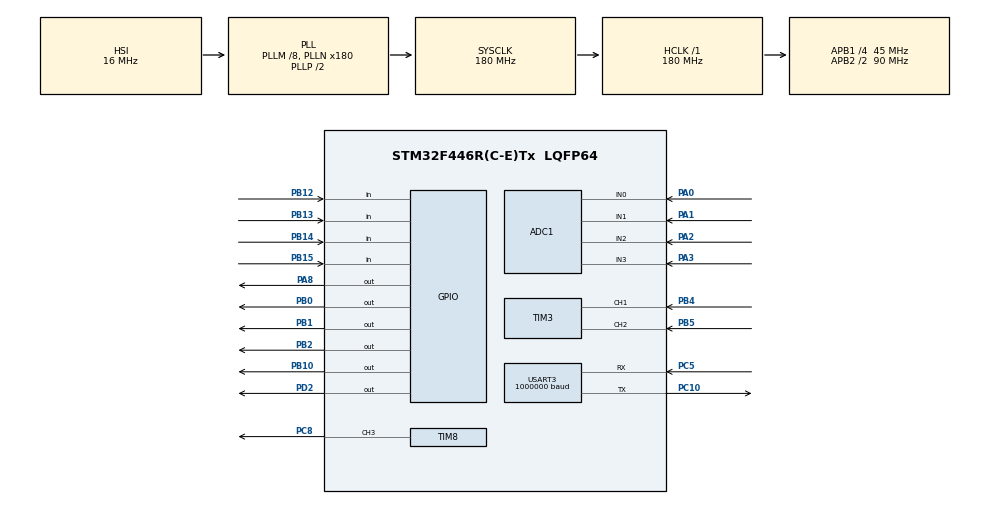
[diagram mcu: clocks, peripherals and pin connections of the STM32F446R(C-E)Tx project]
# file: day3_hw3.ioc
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ADC1.Channel-0\#ChannelRegularConversion=ADC_CHANNEL_0
ADC1.Channel-1\#ChannelRegularConversion=ADC_CHANNEL_1
ADC1.Channel-2\#ChannelRegularConversion=ADC_CHANNEL_2
ADC1.Channel-3\#ChannelRegularConversion=ADC_CHANNEL_3
ADC1.DMAContinuousRequests=ENABLE
ADC1.ExternalTrigConv=ADC_EXTERNALTRIGCONV_T8_TRGO
ADC1.NbrOfConversion=4
ADC1.NbrOfConversionFlag=1
ADC1.Rank-0\#ChannelRegularConversion=1
ADC1.Rank-1\#ChannelRegularConversion=2
ADC1.Rank-2\#ChannelRegularConversion=3
ADC1.Rank-3\#ChannelRegularConversion=4
ADC1.SamplingTime-0\#ChannelRegularConversion=ADC_SAMPLETIME_15CYCLES
ADC1.SamplingTime-1\#ChannelRegularConversion=ADC_SAMPLETIME_15CYCLES
ADC1.SamplingTime-2\#ChannelRegularConversion=ADC_SAMPLETIME_15CYCLES
ADC1.SamplingTime-3\#ChannelRegularConversion=ADC_SAMPLETIME_15CYCLES
ADC1.ScanConvMode=ENABLE
ADC1.master=1
CAN1.BS1=CAN_BS1_6TQ
CAN1.BS2=CAN_BS2_2TQ
CAN1.CalculateTimeQuantum=111.111111111111
CAN1.Prescaler=5
Dma.ADC1.0.Direction=DMA_PERIPH_TO_MEMORY
Dma.ADC1.0.FIFOMode=DMA_FIFOMODE_DISABLE
Dma.ADC1.0.Instance=DMA2_Stream0
Dma.ADC1.0.MemDataAlignment=DMA_MDATAALIGN_WORD
Dma.ADC1.0.MemInc=DMA_MINC_ENABLE
Dma.ADC1.0.Mode=DMA_CIRCULAR
Dma.ADC1.0.PeriphDataAlignment=DMA_PDATAALIGN_WORD
Dma.ADC1.0.PeriphInc=DMA_PINC_DISABLE
Dma.ADC1.0.Priority=DMA_PRIORITY_LOW
Dma.Request0=ADC1
Dma.Request1=USART3_RX
Dma.USART3_RX.1.Direction=DMA_PERIPH_TO_MEMORY
Dma.USART3_RX.1.FIFOMode=DMA_FIFOMODE_DISABLE
Dma.USART3_RX.1.Instance=DMA1_Stream1
Dma.USART3_RX.1.MemDataAlignment=DMA_MDATAALIGN_BYTE
Dma.USART3_RX.1.MemInc=DMA_MINC_ENABLE
Dma.USART3_RX.1.Mode=DMA_CIRCULAR
Dma.USART3_RX.1.PeriphDataAlignment=DMA_PDATAALIGN_BYTE
Dma.USART3_RX.1.PeriphInc=DMA_PINC_DISABLE
Dma.USART3_RX.1.Priority=DMA_PRIORITY_LOW
Mcu.Family=STM32F4
Mcu.Name=STM32F446R(C-E)Tx
Mcu.Package=LQFP64
NVIC.ADC_IRQn=true\:0\:0\:false\:false\:true\:true\:true\:true
NVIC.DMA1_Stream1_IRQn=true\:0\:0\:false\:false\:true\:false\:true\:true
NVIC.DMA2_Stream0_IRQn=true\:0\:0\:false\:false\:true\:false\:true\:true
NVIC.PriorityGroup=NVIC_PRIORITYGROUP_4
NVIC.TIM6_DAC_IRQn=true\:0\:0\:false\:false\:true\:true\:true\:true
NVIC.TIM8_BRK_TIM12_IRQn=true\:0\:0\:false\:false\:true\:true\:true\:true
NVIC.TIM8_CC_IRQn=true\:0\:0\:false\:false\:true\:true\:true\:true
NVIC.TIM8_TRG_COM_TIM14_IRQn=true\:0\:0\:false\:false\:true\:true\:true\:true
NVIC.TIM8_UP_TIM13_IRQn=true\:0\:0\:false\:false\:true\:true\:true\:true
NVIC.USART3_IRQn=true\:0\:0\:false\:false\:true\:true\:true\:true
PA0-WKUP.Signal=ADCx_IN0
PA1.Signal=ADCx_IN1
PA11.Signal=CAN1_RX
PA12.Signal=CAN1_TX
PA13.Mode=Serial_Wire
PA13.Signal=SYS_JTMS-SWDIO
PA14.Mode=Serial_Wire
PA14.Signal=SYS_JTCK-SWCLK
PA2.Signal=ADCx_IN2
PA3.Signal=ADCx_IN3
PA8.Signal=GPIO_Output
PB0.Signal=GPIO_Output
PB1.Signal=GPIO_Output
PB10.Signal=GPIO_Output
PB12.Signal=GPIO_Input
PB13.Signal=GPIO_Input
PB14.Signal=GPIO_Input
PB15.Signal=GPIO_Input
PB2.Signal=GPIO_Output
PB4.GPIO_PuPd=GPIO_PULLUP
PB4.Signal=S_TIM3_CH1
PB5.GPIO_PuPd=GPIO_PULLUP
PB5.Signal=S_TIM3_CH2
PC10.Mode=Asynchronous
PC10.Signal=USART3_TX
PC5.Mode=Asynchronous
PC5.Signal=USART3_RX
PC8.Signal=S_TIM8_CH3
PD2.Signal=GPIO_Output
PH0-OSC_IN.Mode=HSE-External-Oscillator
PH0-OSC_IN.Signal=RCC_OSC_IN
PH1-OSC_OUT.Mode=HSE-External-Oscillator
PH1-OSC_OUT.Signal=RCC_OSC_OUT
ProjectManager.HeapSize=0x200
ProjectManager.StackSize=0x400
ProjectManager.TargetToolchain=STM32CubeIDE
RCC.AHBFreq_Value=180000000
RCC.APB1CLKDivider=RCC_HCLK_DIV4
RCC.APB1Freq_Value=45000000
RCC.APB1TimFreq_Value=90000000
RCC.APB2CLKDivider=RCC_HCLK_DIV2
RCC.APB2Freq_Value=90000000
RCC.APB2TimFreq_Value=180000000
RCC.CortexFreq_Value=180000000
RCC.HCLKFreq_Value=180000000
RCC.HSE_VALUE=16000000
RCC.PLLM=8
RCC.PLLN=180
RCC.SYSCLKFreq_VALUE=180000000
RCC.SYSCLKSource=RCC_SYSCLKSOURCE_PLLCLK
RCC.USBFreq_Value=180000000
RCC.VCOOutputFreq_Value=360000000
SH.ADCx_IN0.0=ADC1_IN0,IN0
SH.ADCx_IN1.0=ADC1_IN1,IN1
SH.ADCx_IN2.0=ADC1_IN2,IN2
SH.ADCx_IN3.0=ADC1_IN3,IN3
SH.S_TIM3_CH1.0=TIM3_CH1,Encoder_Interface
SH.S_TIM3_CH2.0=TIM3_CH2,Encoder_Interface
SH.S_TIM8_CH3.0=TIM8_CH3,PWM Generation3 CH3
TIM3.EncoderMode=TIM_ENCODERMODE_TI12
TIM3.IC1Filter=5
TIM3.IC2Filter=5
TIM6.Period=100-1
TIM6.Prescaler=90-1
TIM8.Channel-PWM\ Generation3\ CH3=TIM_CHANNEL_3
TIM8.Period=1000-1
TIM8.Prescaler=18-1
TIM8.TIM_MasterOutputTrigger=TIM_TRGO_UPDATE
USART3.BaudRate=1000000
USART3.VirtualMode=VM_ASYNC
VP_TIM6_VS_ClockSourceINT.Mode=Enable_Timer
VP_TIM8_VS_ClockSourceINT.Mode=Internal
board=custom

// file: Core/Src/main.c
/* USER CODE BEGIN Header */
/**
  ******************************************************************************
  * @file           : main.c
  * @brief          : Main program body
  ******************************************************************************
  * @attention
  *
  * Copyright (c) 2026 STMicroelectronics.
  * All rights reserved.
  *
  * This software is licensed under terms that can be found in the LICENSE file
  * in the root directory of this software component.
  * If no LICENSE file comes with this software, it is provided AS-IS.
  *
  ******************************************************************************
  */
/* USER CODE END Header */
#include "main.h"
#include "adc.h"
#include "can.h"
#include "dma.h"
#include "tim.h"
#include "usart.h"
#include "gpio.h"

/* USER CODE BEGIN Includes */
#include <string.h>
/* USER CODE END Includes */

/* USER CODE BEGIN PD */
#define RS_HOST_ID 0xFD  // 호스트(STM32) ID
#define RS_MOTOR_ID_DEFAULT 14  // RS00 설정 ID

#define RS_TYPE_STOP 4  // 통신 타입: 정지
#define RS_TYPE_ENABLE 3  // 통신 타입: 활성화
#define RS_TYPE_WRITE 18  // 통신 타입: 파라미터 쓰기
#define RS_TYPE_ID_REQUEST 0  // 통신 타입: ID 요청

#define RS_IDX_RUN_MODE 0x7005  // 운전 모드 (2 = 속도 모드)
#define RS_IDX_SPD_REF 0x700A  // 목표 속도 (rad/s)
#define RS_IDX_LIMIT_CUR 0x7018  // 전류 제한 (A)
#define RS_IDX_ACC_RAD 0x7022  // 가속도 (rad/s^2)

#define RS_SPEED_RAD_S 5.0f  // 데이터시트 최대값의 절반 미만
#define RS_LIMIT_CUR_A 4.0f  // 데이터시트 최대값의 절반 미만
#define RS_ACC_RAD_S2 20.0f
#define RS_PHASE_MS 5000  // 방향 전환 주기 (ms)
/* USER CODE END PD */

/* USER CODE BEGIN PV */
static uint8_t motor_id = RS_MOTOR_ID_DEFAULT;
/* USER CODE END PV */

void SystemClock_Config(void);
/* USER CODE BEGIN PFP */
static void RS_Send(uint8_t comm_type, const uint8_t data[8]);
static void RS_Scan(void);
static void RS_WriteU8(uint16_t index, uint8_t value);
static void RS_WriteFloat(uint16_t index, float value);
/* USER CODE END PFP */

/* USER CODE BEGIN 0 */
static void RS_Send(uint8_t comm_type, const uint8_t data[8])
{
  CAN_TxHeaderTypeDef header;
  uint32_t mailbox;
  uint32_t start;

  header.ExtId = ((uint32_t)comm_type << 24) | ((uint32_t)RS_HOST_ID << 8) | motor_id;  // 29bit ID = 타입 | 호스트 ID | 모터 ID
  header.IDE = CAN_ID_EXT;
  header.RTR = CAN_RTR_DATA;
  header.DLC = 8;
  header.TransmitGlobalTime = DISABLE;

  start = HAL_GetTick();
  while (HAL_CAN_GetTxMailboxesFreeLevel(&hcan1) == 0)  // 빈 메일박스 대기 (10ms 제한)
  {
    if (HAL_GetTick() - start > 10)
    {
      return;
    }
  }
  HAL_CAN_AddTxMessage(&hcan1, &header, (uint8_t *)data, &mailbox);
}

static void RS_Scan(void)
{
  uint8_t zero[8] = {0};
  CAN_RxHeaderTypeDef rx_header;
  uint8_t rx_data[8];
  uint16_t n;

  for (n = 0; n < 127; n++)
  {
    motor_id = (n == 0) ? RS_MOTOR_ID_DEFAULT : n;
    RS_Send(RS_TYPE_ID_REQUEST, zero);  // ID 요청 후 응답 확인
    HAL_Delay(3);
    while (HAL_CAN_GetRxFifoFillLevel(&hcan1, CAN_RX_FIFO0) > 0)
    {
      HAL_CAN_GetRxMessage(&hcan1, CAN_RX_FIFO0, &rx_header, rx_data);
      if (((rx_header.ExtId >> 24) & 0x1F) == 0)
      {
        motor_id = (rx_header.ExtId >> 8) & 0xFF;  // 응답한 모터 ID 저장
        return;
      }
    }
  }
  motor_id = RS_MOTOR_ID_DEFAULT;
}

static void RS_WriteU8(uint16_t index, uint8_t value)
{
  uint8_t data[8] = {0};
  memcpy(&data[0], &index, 2);  // Byte0~1: 파라미터 index
  data[4] = value;  // Byte4: 값
  RS_Send(RS_TYPE_WRITE, data);
}

static void RS_WriteFloat(uint16_t index, float value)
{
  uint8_t data[8] = {0};
  memcpy(&data[0], &index, 2);  // Byte0~1: 파라미터 index
  memcpy(&data[4], &value, 4);  // Byte4~7: float 값
  RS_Send(RS_TYPE_WRITE, data);
}
/* USER CODE END 0 */

int main(void)
{

  /* MCU Configuration--------------------------------------------------------*/

  /* Reset of all peripherals, Initializes the Flash interface and the Systick. */
  HAL_Init();

  /* Configure the system clock */
  SystemClock_Config();

  /* Initialize all configured peripherals */
  MX_GPIO_Init();
  MX_DMA_Init();
  MX_ADC1_Init();
  MX_TIM8_Init();
  MX_TIM6_Init();
  MX_USART3_UART_Init();
  MX_TIM3_Init();
  MX_CAN1_Init();
  /* USER CODE BEGIN 2 */
  CAN_FilterTypeDef sFilterConfig = {0};  // 모든 ID 수신 필터
  sFilterConfig.FilterBank = 0;
  sFilterConfig.FilterMode = CAN_FILTERMODE_IDMASK;
  sFilterConfig.FilterScale = CAN_FILTERSCALE_32BIT;
  sFilterConfig.FilterFIFOAssignment = CAN_RX_FIFO0;
  sFilterConfig.FilterActivation = ENABLE;
  sFilterConfig.SlaveStartFilterBank = 14;
  HAL_CAN_ConfigFilter(&hcan1, &sFilterConfig);
  HAL_CAN_Start(&hcan1);  // CAN 1Mbps 시작
  HAL_Delay(100);
  RS_Scan();  // 모터 ID 확인

  uint8_t zero[8] = {0};
  RS_Send(RS_TYPE_STOP, zero);  // 속도 모드 설정 순서: 정지
  HAL_Delay(50);
  RS_WriteU8(RS_IDX_RUN_MODE, 2);  // 속도 모드
  HAL_Delay(10);
  RS_Send(RS_TYPE_ENABLE, zero);  // 모터 활성화
  HAL_Delay(10);
  RS_WriteFloat(RS_IDX_LIMIT_CUR, RS_LIMIT_CUR_A);
  HAL_Delay(10);
  RS_WriteFloat(RS_IDX_ACC_RAD, RS_ACC_RAD_S2);
  HAL_Delay(10);
  RS_WriteFloat(RS_IDX_SPD_REF, 0.0f);  // 초기 정지
  uint32_t t_start = HAL_GetTick();
  /* USER CODE END 2 */

  /* Infinite loop */
  while (1)
  {

    /* USER CODE BEGIN 3 */
    uint32_t phase = ((HAL_GetTick() - t_start) / RS_PHASE_MS) % 2;  // 5초마다 0/1 전환
    RS_WriteFloat(RS_IDX_SPD_REF, (phase == 0) ? RS_SPEED_RAD_S : -RS_SPEED_RAD_S);  // 0: CW, 1: CCW
    HAL_Delay(20);
  }
  /* USER CODE END 3 */
}

void SystemClock_Config(void)
{
  RCC_OscInitTypeDef RCC_OscInitStruct = {0};
  RCC_ClkInitTypeDef RCC_ClkInitStruct = {0};

  /** Configure the main internal regulator output voltage
  */
  __HAL_RCC_PWR_CLK_ENABLE();
  __HAL_PWR_VOLTAGESCALING_CONFIG(PWR_REGULATOR_VOLTAGE_SCALE1);

  /** Initializes the RCC Oscillators according to the specified parameters
  * in the RCC_OscInitTypeDef structure.
  */
  RCC_OscInitStruct.OscillatorType = RCC_OSCILLATORTYPE_HSI;
  RCC_OscInitStruct.HSIState = RCC_HSI_ON;
  RCC_OscInitStruct.HSICalibrationValue = RCC_HSICALIBRATION_DEFAULT;
  RCC_OscInitStruct.PLL.PLLState = RCC_PLL_ON;
  RCC_OscInitStruct.PLL.PLLSource = RCC_PLLSOURCE_HSI;
  RCC_OscInitStruct.PLL.PLLM = 8;
  RCC_OscInitStruct.PLL.PLLN = 180;
  RCC_OscInitStruct.PLL.PLLP = RCC_PLLP_DIV2;
  RCC_OscInitStruct.PLL.PLLQ = 2;
  RCC_OscInitStruct.PLL.PLLR = 2;
  if (HAL_RCC_OscConfig(&RCC_OscInitStruct) != HAL_OK)
  {
    Error_Handler();
  }

  /** Activate the Over-Drive mode
  */
  if (HAL_PWREx_EnableOverDrive() != HAL_OK)
  {
    Error_Handler();
  }

  /** Initializes the CPU, AHB and APB buses clocks
  */
  RCC_ClkInitStruct.ClockType = RCC_CLOCKTYPE_HCLK|RCC_CLOCKTYPE_SYSCLK
                              |RCC_CLOCKTYPE_PCLK1|RCC_CLOCKTYPE_PCLK2;
  RCC_ClkInitStruct.SYSCLKSource = RCC_SYSCLKSOURCE_PLLCLK;
  RCC_ClkInitStruct.AHBCLKDivider = RCC_SYSCLK_DIV1;
  RCC_ClkInitStruct.APB1CLKDivider = RCC_HCLK_DIV4;
  RCC_ClkInitStruct.APB2CLKDivider = RCC_HCLK_DIV2;

  if (HAL_RCC_ClockConfig(&RCC_ClkInitStruct, FLASH_LATENCY_5) != HAL_OK)
  {
    Error_Handler();
  }
}

void Error_Handler(void)
{
  __disable_irq();
  while (1)
  {
  }
}
